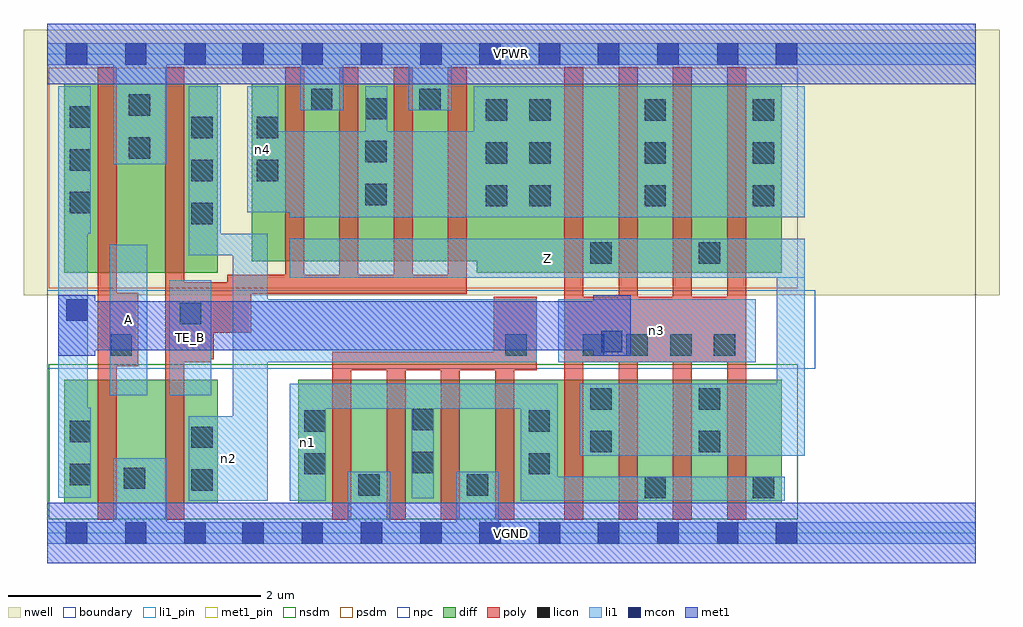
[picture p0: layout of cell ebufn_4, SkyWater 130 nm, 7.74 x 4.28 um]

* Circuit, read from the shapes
.subckt ebufn_4 A TE_B VGND VPWR Z n1 n2 n3 n4
XM1 VGND A n3 VSUBS sky130_fd_pr__nfet_01v8 w=0.98 l=0.15
XM2 n2 TE_B VGND VSUBS sky130_fd_pr__nfet_01v8 w=0.98 l=0.15
XM3 VGND n2 n1 VSUBS sky130_fd_pr__nfet_01v8 w=0.98 l=0.15 m=4
XM4 Z n3 n1 VSUBS sky130_fd_pr__nfet_01v8 w=0.98 l=0.15 m=4
XM5 VPWR A n3 n5 sky130_fd_pr__pfet_01v8 w=1.5 l=0.15
XM6 n2 TE_B VPWR n5 sky130_fd_pr__pfet_01v8 w=1.5 l=0.15
XM7 VPWR TE_B n4 n5 sky130_fd_pr__pfet_01v8 w=1.41 l=0.15 m=4
XM8 Z n3 n4 n5 sky130_fd_pr__pfet_01v8 w=1.5 l=0.15 m=4
.ends

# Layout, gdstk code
import gdstk
lib = gdstk.Library(unit=1e-6, precision=1e-09)
def R(c, l, rs):  # rectangles x0, y0, x1, y1
    for r in rs: c.add(gdstk.rectangle(r[:2], r[2:], *l))
def A(c, l, x, y, w, h, nx, ny, dx, dy):  # array of equal rectangles
    R(c, l, [(x+i*dx, y+j*dy, x+i*dx+w, y+j*dy+h) for i in range(nx) for j in range(ny)])
nwell = (64, 20)
diff = (65, 20)
poly = (66, 20)
licon = (66, 44)
li1_pin = (67, 16)
li1 = (67, 20)
mcon = (67, 44)
met1_pin = (68, 16)
met1 = (68, 20)
nsdm = (93, 44)
psdm = (94, 20)
npc = (95, 20)
boundary = (235, 4)

ebufn_4 = lib.new_cell('ebufn_4')
R(ebufn_4, nwell, [(-0.19,1.885,7.55,3.99), (0,1.885,7.36,3.99)])
R(ebufn_4, diff, [(0.135,0.235,1.35,1.215), (1.99,0.235,5.825,1.215), (0.135,2.065,1.35,3.565), (3.405,2.065,5.825,3.565), (1.62,2.155,5.825,3.565)])
A(ebufn_4, poly, 2.26, 0.105, 0.15, 1.335, 3, 1, 0.43, 0)
A(ebufn_4, poly, 4.1, 0.105, 0.15, 3.59, 4, 1, 0.43, 0)
A(ebufn_4, poly, 1.885, 1.9, 0.15, 1.795, 4, 1, 0.43, 0)
R(ebufn_4, poly, [(0.4,0.105,0.55,3.695), (0.935,0.105,1.085,3.695), (3.55,0.105,3.7,1.875), (2.26,1.29,3.88,1.44), (3.54,1.29,3.88,1.875), (0.4,1.325,0.72,1.905), (0.935,1.355,1.3,1.99), (4.1,1.355,5.54,1.875), (0.935,1.38,1.32,1.99), (0.935,1.59,1.615,1.99), (1.425,1.9,3.325,2.05)])
A(ebufn_4, licon, 1.14, 2.45, 0.17, 0.17, 1, 3, 0, 0.34)
A(ebufn_4, licon, 0.175, 2.535, 0.17, 0.17, 1, 3, 0, 0.34)
A(ebufn_4, licon, 3.475, 2.59, 0.17, 0.17, 1, 3, 0, 0.34)
A(ebufn_4, licon, 3.82, 2.59, 0.17, 0.17, 1, 3, 0, 0.34)
A(ebufn_4, licon, 4.735, 2.59, 0.17, 0.17, 1, 3, 0, 0.34)
A(ebufn_4, licon, 5.595, 2.59, 0.17, 0.17, 1, 3, 0, 0.34)
A(ebufn_4, licon, 2.52, 2.6, 0.17, 0.17, 1, 3, 0, 0.34)
R(ebufn_4, licon, [(4.735,0.275,4.905,0.445), (5.595,0.275,5.765,0.445), (2.465,0.295,2.635,0.465), (3.325,0.295,3.495,0.465), (1.14,0.335,1.31,0.505), (0.605,0.35,0.775,0.52), (0.175,0.38,0.345,0.55), (2.035,0.465,2.205,0.635), (3.815,0.465,3.985,0.635), (2.895,0.475,3.065,0.645), (4.305,0.64,4.475,0.81), (5.165,0.64,5.335,0.81), (1.14,0.675,1.31,0.845), (0.175,0.72,0.345,0.89), (2.035,0.805,2.205,0.975), (3.815,0.805,3.985,0.975), (2.895,0.815,3.065,0.985), (4.305,0.98,4.475,1.15), (5.165,0.98,5.335,1.15), (0.5,1.405,0.67,1.575), (3.63,1.405,3.8,1.575), (4.245,1.405,4.415,1.575), (4.59,1.405,4.76,1.575), (4.94,1.405,5.11,1.575), (5.285,1.405,5.455,1.575), (1.05,1.655,1.22,1.825), (4.305,2.135,4.475,2.305), (5.165,2.135,5.335,2.305), (1.66,2.79,1.83,2.96), (0.645,2.97,0.815,3.14), (1.66,3.13,1.83,3.3), (0.645,3.31,0.815,3.48), (2.09,3.355,2.26,3.525), (2.95,3.355,3.12,3.525)])
R(ebufn_4, li1_pin, [(0.495,1.095,0.79,2.285), (0.965,1.095,1.3,2.005), (1.92,2.025,6.005,2.335)])
R(ebufn_4, li1, [(0,-0.085,7.36,0.085), (0.52,-0.085,0.945,0.595), (2.38,-0.085,2.72,0.485), (3.24,-0.085,3.58,0.485), (1.12,0.255,1.745,0.925), (1.47,0.255,1.745,2.375), (1.92,0.255,2.205,1.185), (3.755,0.255,5.845,0.445), (3.755,0.255,4.045,1.185), (2.89,0.275,3.065,1.185), (0.085,0.28,0.32,3.545), (0.085,0.28,0.345,0.995), (4.22,0.615,6.005,1.185), (5.785,0.615,6.005,2.335), (1.92,0.985,4.045,1.185), (0.495,1.095,0.79,2.285), (0.965,1.095,1.3,2.005), (1.47,1.355,3.88,1.855), (4.05,1.355,5.615,1.855), (1.92,2.025,6.005,2.335), (1.12,2.205,1.375,3.545), (1.12,2.205,1.745,2.375), (0.085,2.375,0.345,3.545), (1.92,2.505,6.005,3.185), (2.52,2.505,2.695,3.545), (3.38,2.505,6.005,3.545), (1.585,2.545,1.83,3.545), (1.585,2.545,6.005,3.185), (0.52,2.925,0.945,3.885), (2.005,3.355,2.345,3.885), (2.865,3.355,3.205,3.885), (0,3.715,7.36,3.885)])
A(ebufn_4, mcon, 0.145, -0.085, 0.17, 0.17, 3, 2, 0.47, 3.8)
A(ebufn_4, mcon, 1.545, -0.085, 0.17, 0.17, 8, 2, 0.47, 3.8)
R(ebufn_4, mcon, [(5.31,-0.085,5.48,0.085), (5.775,-0.085,5.945,0.085), (4.39,1.435,4.56,1.605), (0.15,1.685,0.32,1.855), (5.31,3.715,5.48,3.885), (5.775,3.715,5.945,3.885)])
R(ebufn_4, met1_pin, [(0,-0.24,7.36,0.24), (0,3.56,7.36,4.04)])
R(ebufn_4, met1, [(0,-0.24,7.36,0.24), (0.085,1.405,0.38,1.885), (4.33,1.405,4.625,1.885), (0.085,1.45,4.625,1.84), (0,3.56,7.36,4.04)])
R(ebufn_4, nsdm, [(0.01,0.11,5.95,1.34)])
R(ebufn_4, psdm, [(0.01,1.94,5.95,3.69)])
R(ebufn_4, npc, [(0,1.305,6.09,1.925)])
R(ebufn_4, boundary, [(0,0,7.36,3.8)])
ebufn_4.add(gdstk.Label('A', (0.642,1.69), layer=67, texttype=5))
ebufn_4.add(gdstk.Label('TE_B', (1.132,1.55), layer=67, texttype=5))
ebufn_4.add(gdstk.Label('Z', (3.962,2.18), layer=67, texttype=5))
ebufn_4.add(gdstk.Label('n1', (2.062,0.72), layer=67, texttype=5))
ebufn_4.add(gdstk.Label('n3', (4.832,1.605), layer=67, texttype=5))
ebufn_4.add(gdstk.Label('n2', (1.432,0.59), layer=67, texttype=5))
ebufn_4.add(gdstk.Label('n4', (1.707,3.045), layer=67, texttype=5))
ebufn_4.add(gdstk.Label('VPWR', (3.68,3.8), layer=68, texttype=5))
ebufn_4.add(gdstk.Label('VGND', (3.68,0), layer=68, texttype=5))
ebufn_4.add(gdstk.Label('A', (0.642,1.69), layer=67, texttype=16))
ebufn_4.add(gdstk.Label('TE_B', (1.132,1.55), layer=67, texttype=16))
ebufn_4.add(gdstk.Label('Z', (3.962,2.18), layer=67, texttype=16))
ebufn_4.add(gdstk.Label('VPWR', (3.68,3.8), layer=68, texttype=16))
ebufn_4.add(gdstk.Label('VGND', (3.68,0), layer=68, texttype=16))

lib.write_gds('ebufn_4.gds')
